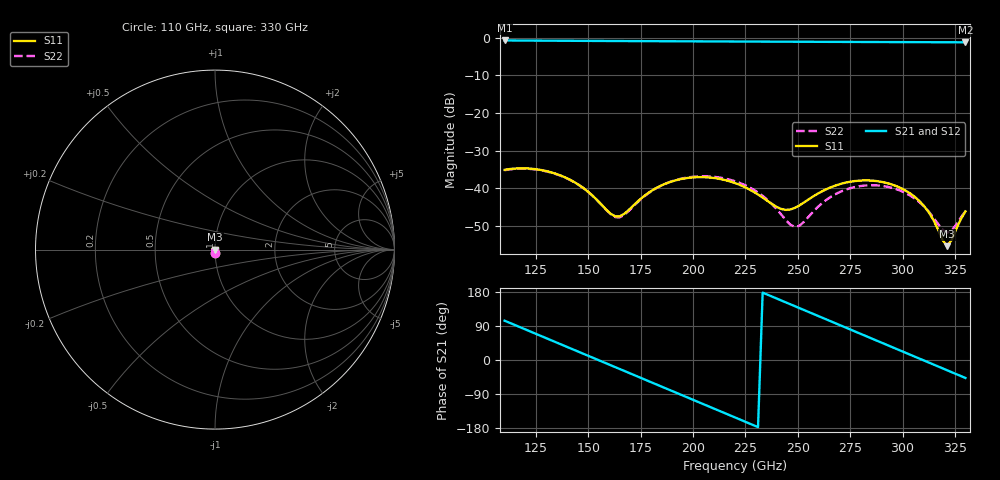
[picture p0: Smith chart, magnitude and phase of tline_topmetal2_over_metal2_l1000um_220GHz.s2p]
#  GHZ S DB R 50
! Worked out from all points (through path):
!   101 points, 110 GHz to 330 GHz, reference 50 ohm
!   highest |S21| = -0.74 dB at 110 GHz (marker M1); lowest = -1.2 dB at 330 GHz (marker M2)
!   group delay of S21, straight-line fit = 6.45 ps
!   lowest |S11| = -55.3 dB at 321.2 GHz (marker M3), VSWR 1.00, Z = 50.2 + j0.0281 ohm
!   |S11| at or under -10 dB: start of sweep to end of sweep
!   |S22| runs from -51.8 to -34.8 dB; largest |S21 - S12| = 1.1e-14
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110  -35.08 -99.0  -0.74 103.7  -0.74 103.7  -35.18 -99.2
118.8  -34.67 -125.2  -0.77 83.3  -0.77 83.3  -34.76 -125.4
127.6  -35.14 -151.6  -0.79 62.9  -0.79 62.9  -35.22 -151.9
138.6  -37.01 173.5  -0.82 37.3  -0.82 37.3  -37.07 173.3
147.4  -39.83 141.7  -0.85 16.9  -0.85 16.9  -39.85 141.7
160.6  -46.72 63.1  -0.88 -13.7  -0.88 -13.7  -46.84 64.3
165  -47.42 18.1  -0.89 -23.9  -0.89 -23.9  -47.69 18.8
184.8  -39.23 -97.1  -0.94 -69.8  -0.94 -69.8  -39.25 -97.7
193.6  -37.60 -127.1  -0.96 -90.3  -0.96 -90.3  -37.52 -127.3
202.4  -37.02 -155.3  -0.98 -110.7  -0.98 -110.7  -36.82 -154.7
220  -38.59 146.7  -1.02 -151.6  -1.02 -151.6  -38.11 151.2
233.2  -42.44 91.8  -1.05 177.8  -1.05 177.8  -41.98 105.5
242  -45.45 34.6  -1.07 157.3  -1.07 157.3  -46.89 61.0
248.6  -45.17 -18.2  -1.08 142.0  -1.08 142.0  -50.24 -1.5
257.4  -42.11 -71.3  -1.10 121.5  -1.10 121.5  -46.13 -80.4
266.2  -39.61 -107.7  -1.11 101.1  -1.11 101.1  -42.09 -120.4
275  -38.24 -137.7  -1.13 80.6  -1.13 80.6  -39.96 -150.5
283.8  -37.90 -165.1  -1.15 60.1  -1.15 60.1  -39.18 -177.9
294.8  -38.95 161.8  -1.17 34.5  -1.17 34.5  -39.84 148.5
310.2  -44.64 110.9  -1.20 -1.3  -1.20 -1.3  -44.76 94.0
321.2  -55.34 9.4  -1.22 -26.9  -1.22 -26.9  -51.81 3.3
330  -46.12 -85.0  -1.23 -47.4  -1.23 -47.4  -46.05 -81.7
